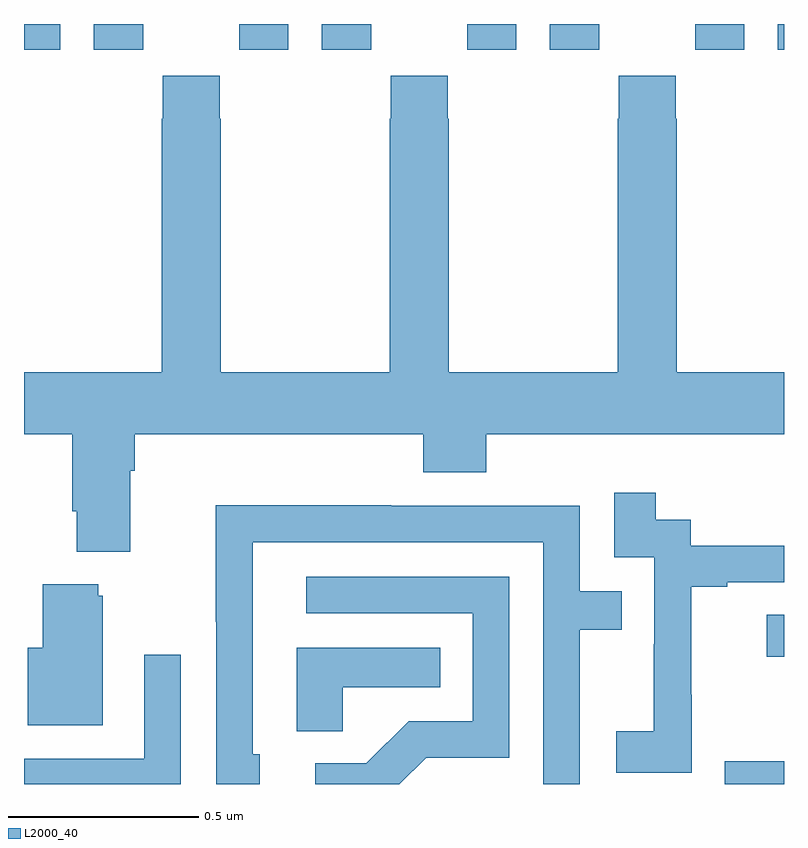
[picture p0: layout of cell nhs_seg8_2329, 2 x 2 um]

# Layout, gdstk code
import gdstk
lib = gdstk.Library(unit=1e-6, precision=1e-09)
def R(c, l, rs):  # rectangles x0, y0, x1, y1
    for r in rs: c.add(gdstk.rectangle(r[:2], r[2:], *l))
def P(c, l, *ps):  # polygons
    for p in ps: c.add(gdstk.Polygon(p, *l))
L2000_40 = (2000, 40)

nhs_seg8_2329 = lib.new_cell('nhs_seg8_2329')
R(nhs_seg8_2329, L2000_40, [(143.844,1128.9,144,1128.96), (143.955,1129.235,144,1129.345), (142,1130.832,142.096,1130.9), (142.184,1130.832,142.314,1130.9), (142.566,1130.832,142.696,1130.9), (142.784,1130.832,142.914,1130.9), (143.166,1130.832,143.296,1130.9), (143.384,1130.832,143.514,1130.9), (143.766,1130.832,143.896,1130.9), (143.984,1130.832,144,1130.9)])
P(nhs_seg8_2329, L2000_40, [(143.118,1130.651),(143.115,1130.651),(143.115,1130.764),(142.965,1130.764),(142.965,1130.651),(142.963,1130.651),(142.963,1129.984),(142.518,1129.984),(142.518,1130.651),(142.515,1130.651),(142.515,1130.764),(142.365,1130.764),(142.365,1130.651),(142.363,1130.651),(142.363,1129.984),(142,1129.984),(142,1129.82),(142.127,1129.82),(142.127,1129.618),(142.139,1129.618),(142.139,1129.511),(142.279,1129.511),(142.279,1129.724),(142.292,1129.724),(142.292,1129.82),(143.051,1129.82),(143.051,1129.721),(143.216,1129.721),(143.216,1129.82),(144,1129.82),(144,1129.984),(143.718,1129.984),(143.718,1130.651),(143.715,1130.651),(143.715,1130.764),(143.565,1130.764),(143.565,1130.651),(143.563,1130.651),(143.563,1129.984),(143.118,1129.984)],
  [(143.757,1129.135),(143.756,1129.135),(143.756,1129.419),(143.851,1129.419),(143.851,1129.431),(144,1129.431),(144,1129.527),(143.754,1129.527),(143.754,1129.596),(143.662,1129.596),(143.662,1129.666),(143.553,1129.666),(143.553,1129.497),(143.658,1129.497),(143.658,1129.268),(143.657,1129.268),(143.657,1129.039),(143.559,1129.039),(143.559,1128.929),(143.757,1128.929)],
  [(142.621,1128.978),(142.602,1128.978),(142.602,1129.536),(143.367,1129.536),(143.367,1128.9),(143.463,1128.9),(143.463,1129.306),(143.573,1129.306),(143.573,1129.407),(143.463,1129.407),(143.463,1129.632),(142.967,1129.632),(142.967,1129.634),(142.504,1129.634),(142.504,1129.327),(142.506,1129.327),(142.506,1128.9),(142.621,1128.9)],
  [(143.058,1128.969),(143.277,1128.969),(143.277,1129.446),(142.743,1129.446),(142.743,1129.35),(143.181,1129.35),(143.181,1129.065),(143.012,1129.065),(142.901,1128.954),(142.767,1128.954),(142.767,1128.9),(142.988,1128.9)],
  [(142.207,1129.395),(142.196,1129.395),(142.196,1129.426),(142.049,1129.426),(142.049,1129.258),(142.01,1129.258),(142.01,1129.055),(142.207,1129.055)],
  [(142.839,1129.154),(143.096,1129.154),(143.096,1129.258),(142.718,1129.258),(142.718,1129.039),(142.839,1129.039)],
  [(142.413,1129.24),(142.317,1129.24),(142.317,1128.966),(142,1128.966),(142,1128.9),(142.413,1128.9)])

lib.write_gds('nhs_seg8_2329.gds')
